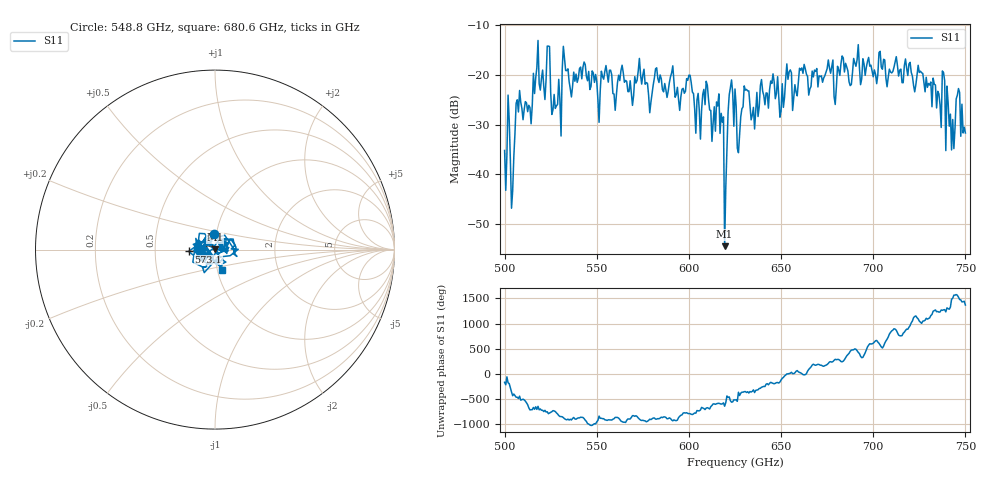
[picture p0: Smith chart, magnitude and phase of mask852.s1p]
!Created with skrf (http://scikit-rf.org).
# GHz S MA R 50.0
!freq magS11 angS11
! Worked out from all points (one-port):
!   401 points, 500 GHz to 750 GHz, reference 50 ohm
!   lowest |S11| = -54.5 dB at 619.4 GHz (marker M1), VSWR 1.00, Z = 50 + j0.187 ohm
!   |S11| at or under -10 dB: start of sweep to end of sweep
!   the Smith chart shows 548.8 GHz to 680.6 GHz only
!   S11 on the Smith chart (normalised r, x): 548.8 GHz: 0.98, +0.17; 573.1 GHz: 0.74, -0.02; 680.6 GHz: 1.05, -0.25
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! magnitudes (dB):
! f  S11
! 500 GHz  -35.2
! 504.4 GHz  -43.3
! 507.5 GHz  -27.4
! 513.8 GHz  -26.5
! 516.9 GHz  -20.6
! 523.8 GHz  -14.2
! 526.9 GHz  -23.9
! 531.2 GHz  -18.9
! 548.8 GHz  -21.5
! 562.5 GHz  -21.1
! 573.1 GHz  -16.7
! 593.8 GHz  -22.5
! 600 GHz  -20.0
! 605 GHz  -23.7
! 608.8 GHz  -26.0
! 616.2 GHz  -23.8
! 619.4 GHz  -54.5
! 620.6 GHz  -35.0
! 622.5 GHz  -22.6
! 625 GHz  -22.8
! 656.2 GHz  -27.1
! 680.6 GHz  -18.2
! 687.5 GHz  -22.1
! 718.8 GHz  -20.1
! 738.8 GHz  -21.1
! 742.5 GHz  -35.1
! 745.6 GHz  -24.1
! 750 GHz  -31.7
